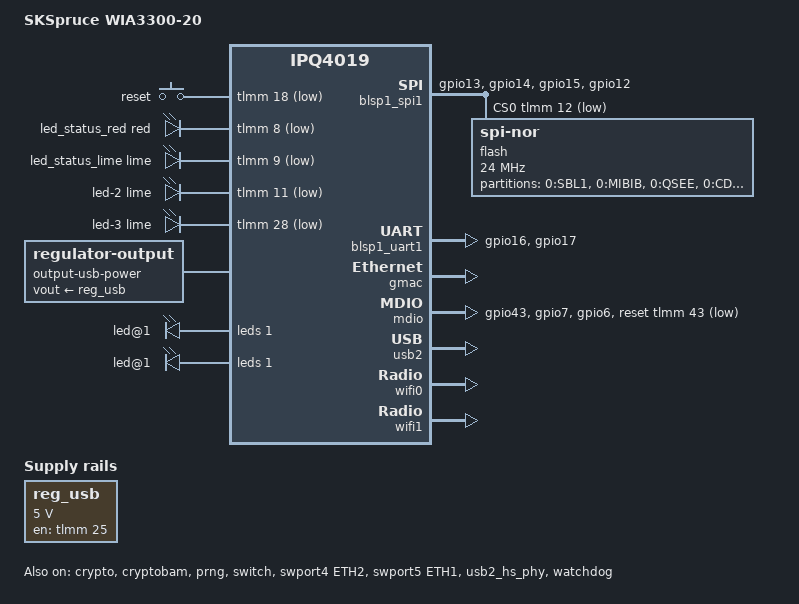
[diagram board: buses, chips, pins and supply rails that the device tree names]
// SPDX-License-Identifier: GPL-2.0-or-later OR MIT

#include "qcom-ipq4019.dtsi"
#include <dt-bindings/gpio/gpio.h>
#include <dt-bindings/input/input.h>
#include <dt-bindings/leds/common.h>
#include <dt-bindings/soc/qcom,tcsr.h>

/ {
	compatible = "skspruce,wia3300-20", "qcom,ipq4019";
	model = "SKSpruce WIA3300-20";

	aliases {
		// TODO: Verify if the ethernet0 alias is needed
		ethernet0 = &gmac;
		label-mac-device = &gmac;
		led-boot = &led_status_red;
		led-failsafe = &led_status_lime;
		led-running = &led_status_lime;
		led-upgrade = &led_status_red;
	};

	chosen {
		stdout-path = "serial0:115200n8";
	};

	keys {
		compatible = "gpio-keys";

		pinctrl-0 = <&key_pins>;
		pinctrl-names = "default";

		reset {
			label = "reset";
			gpios = <&tlmm 18 GPIO_ACTIVE_LOW>;
			linux,code = <KEY_RESTART>;
		};
	};

	leds {
		compatible = "gpio-leds";

		pinctrl-0 = <&led_pins>;
		pinctrl-names = "default";

		led_status_red: led-0 {
			color = <LED_COLOR_ID_RED>;
			function = LED_FUNCTION_STATUS;
			gpios = <&tlmm 8 GPIO_ACTIVE_LOW>;
		};

		led_status_lime: led-1 {
			color = <LED_COLOR_ID_LIME>;
			function = LED_FUNCTION_STATUS;
			gpios = <&tlmm 9 GPIO_ACTIVE_LOW>;
		};

		led-2 {
			color = <LED_COLOR_ID_LIME>;
			function = LED_FUNCTION_WLAN_2GHZ;
			gpios = <&tlmm 11 GPIO_ACTIVE_LOW>;
			linux,default-trigger = "phy0tpt";
		};

		led-3 {
			color = <LED_COLOR_ID_LIME>;
			function = LED_FUNCTION_WLAN_5GHZ;
			gpios = <&tlmm 28 GPIO_ACTIVE_LOW>;
			linux,default-trigger = "phy1tpt";
		};
	};

	output-usb-power {
		compatible = "regulator-output";
		vout-supply = <&reg_usb>;
	};

	reg_usb: regulator-usb {
		compatible = "regulator-fixed";

		pinctrl-0 = <&reg_usb_pins>;
		pinctrl-names = "default";

		enable-active-high;
		gpios = <&tlmm 25 GPIO_ACTIVE_HIGH>;
		regulator-max-microvolt = <5000000>;
		regulator-min-microvolt = <5000000>;
		regulator-name = "reg_usb";
		regulator-boot-on;
	};

	soc {
		tcsr@1949000 {
			compatible = "qcom,tcsr";
			reg = <0x1949000 0x100>;
			qcom,wifi_glb_cfg = <TCSR_WIFI_GLB_CFG>;
		};

		tcsr@194b000 {
			compatible = "qcom,tcsr";
			reg = <0x194b000 0x100>;
			qcom,usb-hsphy-mode-select = <TCSR_USB_HSPHY_HOST_MODE>;
		};

		ess_tcsr@1953000 {
			compatible = "qcom,tcsr";
			reg = <0x1953000 0x1000>;
			qcom,ess-interface-select = <TCSR_ESS_PSGMII>;
		};

		tcsr@1957000 {
			compatible = "qcom,tcsr";
			reg = <0x1957000 0x100>;
			qcom,wifi_noc_memtype_m0_m2 = <TCSR_WIFI_NOC_MEMTYPE_M0_M2>;
		};
	};
};

&blsp_dma {
	status = "okay";
};

&blsp1_spi1 {
	status = "okay";

	pinctrl-0 = <&spi0_pins>;
	pinctrl-names = "default";

	cs-gpios = <&tlmm 12 GPIO_ACTIVE_LOW>;

	flash@0 {
		compatible = "jedec,spi-nor";
		spi-max-frequency = <24000000>;
		reg = <0>;

		partitions {
			compatible = "fixed-partitions";
			#address-cells = <1>;
			#size-cells = <1>;

			partition@0 {
				label = "0:SBL1";
				reg = <0x00000000 0x00040000>;
				read-only;
			};

			partition@40000 {
				label = "0:MIBIB";
				reg = <0x00040000 0x00020000>;
				read-only;
			};

			partition@60000 {
				label = "0:QSEE";
				reg = <0x00060000 0x00060000>;
				read-only;
			};

			partition@c0000 {
				label = "0:CDT";
				reg = <0x000c0000 0x00010000>;
				read-only;
			};

			partition@d0000 {
				label = "0:DDRPARAMS";
				reg = <0x000d0000 0x00010000>;
				read-only;
			};

			partition@e0000 {
				compatible = "u-boot,env";
				label = "0:APPSBLENV";
				reg = <0x000e0000 0x00010000>;
			};

			partition@f0000 {
				label = "0:APPSBL";
				reg = <0x000f0000 0x00080000>;
				read-only;
			};

			partition@170000 {
				label = "0:oldART";
				reg = <0x00170000 0x00010000>;
				read-only;
			};

			partition@180000 {
				label = "0:HLOS";
				reg = <0x00180000 0x00800000>;
				read-only;
			};

			partition@980000 {
				compatible = "denx,fit";
				label = "firmware";
				reg = <0x980000 0x35d0000>;
			};

			partition@3f50000 {
				label = "0:APPSBL1";
				reg = <0x03f50000 0x00080000>;
				read-only;
			};

			partition@3fd0000 {
				label = "BoardInfo";
				reg = <0x03fd0000 0x00010000>;
				read-only;

				nvmem-layout {
					compatible = "fixed-layout";
					#address-cells = <1>;
					#size-cells = <1>;

					macaddr_boardinfo_108a: macaddr@108a {
						compatible = "mac-base";
						reg = <0x108a 0x6>;
						#nvmem-cell-cells = <1>;
					};
				};
			};

			partition@3fe0000 {
				label = "RebootCause";
				reg = <0x03fe0000 0x00010000>;
				read-only;
			};

			partition@3ff0000 {
				label = "0:ART";
				reg = <0x03ff0000 0x00010000>;
				read-only;

				nvmem-layout {
					compatible = "fixed-layout";
					#address-cells = <1>;
					#size-cells = <1>;

					precal_art_1000: precal@1000 {
						reg = <0x1000 0x2f20>;
					};

					precal_art_5000: precal@5000 {
						reg = <0x5000 0x2f20>;
					};
				};
			};
		};
	};
};

&blsp1_uart1 {
	status = "okay";

	pinctrl-0 = <&serial0_pins>;
	pinctrl-names = "default";
};

&crypto {
	status = "okay";
};

&cryptobam {
	status = "okay";
};

&ethphy3 {
	leds {
		#address-cells = <1>;
		#size-cells = <0>;

		led@1 {
			reg = <1>;
			color = <LED_COLOR_ID_LIME>;
			function = LED_FUNCTION_LAN;
		};
	};
};

&ethphy4 {
	leds {
		#address-cells = <1>;
		#size-cells = <0>;

		led@1 {
			reg = <1>;
			color = <LED_COLOR_ID_LIME>;
			function = LED_FUNCTION_WAN;
		};
	};
};

&gmac {
	status = "okay";

	nvmem-cells = <&macaddr_boardinfo_108a 0>;
	nvmem-cell-names = "mac-address";
};

&mdio {
	status = "okay";

	pinctrl-0 = <&mdio_pins>;
	pinctrl-names = "default";

	reset-delay-us = <2000>;
	reset-post-delay-us = <2000>;
	reset-gpios = <&tlmm 43 GPIO_ACTIVE_LOW>;
};

&prng {
	status = "okay";
};

&switch {
	status = "okay";
};

&swport4 {
	status = "okay";

	label = "ETH2";
	nvmem-cells = <&macaddr_boardinfo_108a 1>;
	nvmem-cell-names = "mac-address";
};

&swport5 {
	status = "okay";

	label = "ETH1";
	nvmem-cells = <&macaddr_boardinfo_108a 0>;
	nvmem-cell-names = "mac-address";
};

&tlmm {
	key_pins: key_pinmux {
		gpio {
			pins = "gpio18";
			function = "gpio";
			bias-disable;
		};
	};

	led_pins: led_pinmux {
		gpio {
			pins = "gpio8", "gpio9", "gpio11", "gpio28";
			function = "gpio";
			drive-strength = <8>;
			drive-open-drain;
			bias-disable;
		};
	};

	mdio_pins: mdio_pinmux {
		gpio {
			pins = "gpio43";
			function = "gpio";
			drive-strength = <4>;
			bias-disable;
			output-high;
		};

		mdc {
			pins = "gpio7";
			function = "mdc";
			drive-strength = <4>;
			bias-disable;
		};

		mdio {
			pins = "gpio6";
			function = "mdio";
			drive-strength = <4>;
			drive-open-drain;
			bias-pull-up;
		};
	};

	reg_usb_pins: reg_usb_pinmux {
		gpio {
			pins = "gpio25";
			function = "gpio";
			drive-strength = <8>;
			bias-disable;
			output-high;
		};
	};

	serial0_pins: serial0_pinmux {
		blsp_uart0 {
			pins = "gpio16", "gpio17";
			function = "blsp_uart0";
			drive-strength = <8>;
			bias-disable;
		};
	};

	spi0_pins: spi0_pinmux {
		blsp_spi0 {
			pins = "gpio13", "gpio14", "gpio15";
			function = "blsp_spi0";
			drive-strength = <4>;
			bias-disable;
		};

		gpio {
			pins = "gpio12";
			function = "gpio";
			drive-strength = <4>;
			bias-disable;
			output-high;
		};
	};
};

&usb2 {
	status = "okay";
};

&usb2_hs_phy {
	status = "okay";
};

&watchdog {
	status = "okay";
};

&wifi0 {
	status = "okay";

	nvmem-cell-names = "mac-address", "pre-calibration";
	nvmem-cells = <&macaddr_boardinfo_108a 3>, <&precal_art_1000>;
	qcom,ath10k-calibration-variant = "SKSpruce_WIA3300-20";
};

&wifi1 {
	status = "okay";

	nvmem-cell-names = "mac-address", "pre-calibration";
	nvmem-cells = <&macaddr_boardinfo_108a 4>, <&precal_art_5000>;
	qcom,ath10k-calibration-variant = "SKSpruce_WIA3300-20";
};
